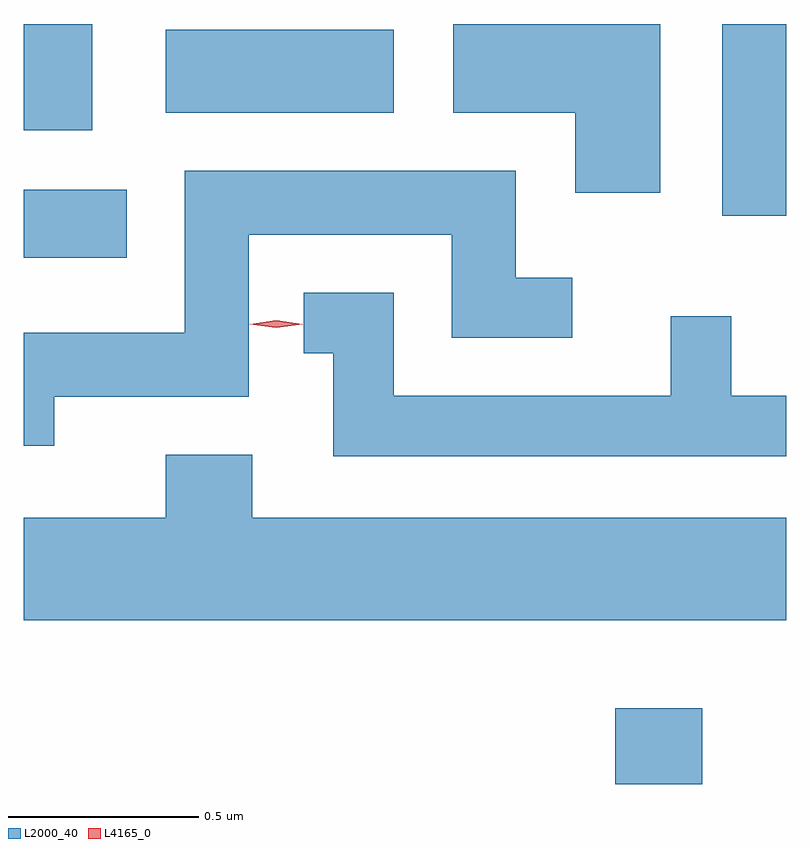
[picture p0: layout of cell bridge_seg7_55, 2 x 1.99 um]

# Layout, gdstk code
import gdstk
lib = gdstk.Library(unit=1e-6, precision=1e-09)
def R(c, l, rs):  # rectangles x0, y0, x1, y1
    for r in rs: c.add(gdstk.rectangle(r[:2], r[2:], *l))
def P(c, l, *ps):  # polygons
    for p in ps: c.add(gdstk.Polygon(p, *l))
L2000_40 = (2000, 40)
L4165_0 = (4165, 0)

bridge_seg7_55 = lib.new_cell('bridge_seg7_55')
R(bridge_seg7_55, L2000_40, [(1609.111,1749.406,1609.339,1749.604), (1607.559,1750.786,1607.829,1750.964), (1609.391,1750.896,1609.559,1751.399), (1607.559,1751.121,1607.739,1751.399), (1607.931,1751.166,1608.529,1751.384)])
P(bridge_seg7_55, L2000_40, [(1609.229,1751.399),(1608.686,1751.399),(1608.686,1751.166),(1609.006,1751.166),(1609.006,1750.956),(1609.229,1750.956)],
  [(1607.639,1750.421),(1608.149,1750.421),(1608.149,1750.846),(1608.681,1750.846),(1608.681,1750.576),(1608.998,1750.576),(1608.998,1750.734),(1608.849,1750.734),(1608.849,1751.014),(1607.981,1751.014),(1607.981,1750.589),(1607.559,1750.589),(1607.559,1750.293),(1607.639,1750.293)],
  [(1609.559,1750.424),(1609.414,1750.424),(1609.414,1750.633),(1609.256,1750.633),(1609.256,1750.424),(1608.529,1750.424),(1608.529,1750.694),(1608.293,1750.694),(1608.293,1750.536),(1608.371,1750.536),(1608.371,1750.266),(1609.559,1750.266)],
  [(1609.559,1750.104),(1608.159,1750.104),(1608.159,1750.269),(1607.931,1750.269),(1607.931,1750.104),(1607.559,1750.104),(1607.559,1749.836),(1609.559,1749.836)])
P(bridge_seg7_55, L4165_0, [(1608.222,1750.602),(1608.152,1750.611),(1608.152,1750.612),(1608.152,1750.612),(1608.222,1750.622),(1608.291,1750.612),(1608.291,1750.612),(1608.291,1750.611)])

lib.write_gds('bridge_seg7_55.gds')
